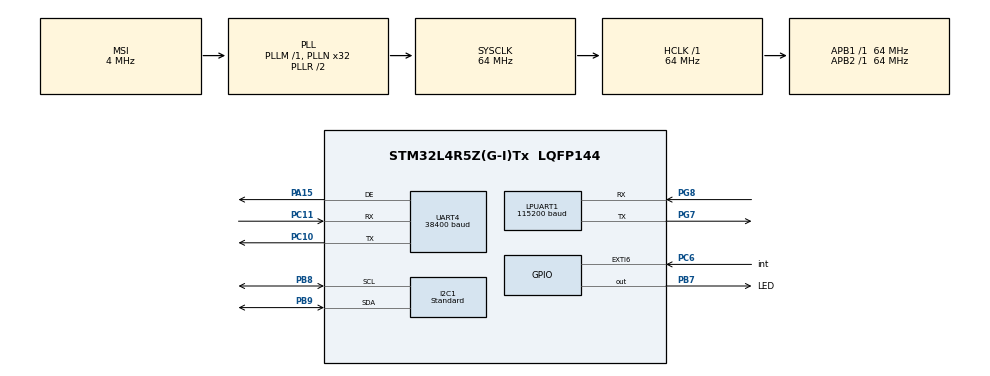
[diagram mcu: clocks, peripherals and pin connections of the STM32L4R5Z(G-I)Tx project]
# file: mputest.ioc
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Mcu.Family=STM32L4
RCC.MSI_VALUE=4000000
PG8.Mode=Asynchronous
FREERTOS.Queues01=SerialQ,64,1,1,Dynamic,NULL,NULL;bluetoothQ,64,1,1,Dynamic,NULL,NULL
VP_SYS_VS_tim6.Mode=TIM6
RCC.CortexFreq_Value=64000000
FREERTOS.Tasks01=readSensor,55,256,StartReadSensor,Default,NULL,Dynamic,NULL,NULL;SendBluetooth,8,128,SendBluetoothTask,Default,NULL,Dynamic,NULL,NULL;SendSerial,8,128,SendSerialTask,Default,NULL,Dynamic,NULL,NULL
PG7.Signal=LPUART1_TX
PA13\ (JTMS/SWDIO).Mode=Serial_Wire
I2C1.I2C_Speed_Mode=I2C_Standard
NVIC.TIM6_DAC_IRQn=true\:0\:0\:false\:false\:true\:false\:false\:true
PG8.Signal=LPUART1_RX
PC10.Signal=UART4_TX
PC11.Signal=UART4_RX
PC6.Signal=GPXTI6
PC10.Mode=Asynchronous
PC6.GPIO_Label=int
LPUART1.WordLength=UART_WORDLENGTH_8B
PA15\ (JTDI).Signal=UART4_DE
I2C1.Analog_Filter=I2C_ANALOGFILTER_ENABLE
RCC.SYSCLKSource=RCC_SYSCLKSOURCE_PLLCLK
ProjectManager.StackSize=0x400
VP_FREERTOS_VS_CMSIS_V2.Mode=CMSIS_V2
PA15\ (JTDI).Mode=Hardware Flow Control (RS485)
PA14\ (JTCK/SWCLK).Signal=SYS_JTCK-SWCLK
ProjectManager.TargetToolchain=STM32CubeIDE
UART4.BaudRate=38400
RCC.HCLKFreq_Value=64000000
PB9.Mode=I2C
RCC.APB2TimFreq_Value=64000000
I2C1.Timing=0x10707DBC
PG7.Mode=Asynchronous
RCC.LSE_VALUE=32768
RCC.AHBFreq_Value=64000000
RCC.HSE_VALUE=8000000
board=custom
RCC.VCOOutputFreq_Value=128000000
RCC.APB2Freq_Value=64000000
PB7.Signal=GPIO_Output
PA14\ (JTCK/SWCLK).Mode=Serial_Wire
Mcu.Name=STM32L4R5Z(G-I)Tx
LPUART1.BaudRate=115200
PB7.GPIO_Label=LED
RCC.SYSCLKFreq_VALUE=64000000
Mcu.Package=LQFP144
PB9.Signal=I2C1_SDA
NVIC.TimeBase=TIM6_DAC_IRQn
NVIC.TimeBaseIP=TIM6
NVIC.EXTI9_5_IRQn=true\:5\:0\:false\:false\:true\:true\:true\:true
ProjectManager.HeapSize=0x200
PC11.Mode=Asynchronous
RCC.HSI_VALUE=16000000
NVIC.PriorityGroup=NVIC_PRIORITYGROUP_4
PB8.Mode=I2C
RCC.PLLN=32
RCC.APB1TimFreq_Value=64000000
PB8.Signal=I2C1_SCL
RCC.APB1Freq_Value=64000000
RCC.HSI48_VALUE=48000000
PA13\ (JTMS/SWDIO).Signal=SYS_JTMS-SWDIO

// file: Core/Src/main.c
/* USER CODE BEGIN Header */
/**
 ******************************************************************************
 * @file           : main.c
 * @brief          : Main program body
 ******************************************************************************
 * @attention
 *
 * <h2><center>&copy; Copyright (c) 2021 STMicroelectronics.
 * All rights reserved.</center></h2>
 *
 * This software component is licensed by ST under BSD 3-Clause license,
 * the "License"; You may not use this file except in compliance with the
 * License. You may obtain a copy of the License at:
 *                        opensource.org/licenses/BSD-3-Clause
 *
 ******************************************************************************
 */
/* USER CODE END Header */
#include "main.h"
#include "cmsis_os.h"

/* USER CODE BEGIN Includes */
#include "inv_mpu.h"
#include "inv_mpu_dmp_motion_driver.h"
#include "math.h"
#include "mpu.h"
#include "macros.h"
#include <stdio.h>
#include <string.h>
/* USER CODE END Includes */

I2C_HandleTypeDef hi2c1;

UART_HandleTypeDef hlpuart1;
UART_HandleTypeDef huart4;

/* Definitions for readSensor */
osThreadId_t readSensorHandle;
const osThreadAttr_t readSensor_attributes = {
  .name = "readSensor",
  .stack_size = 256 * 4,
  .priority = (osPriority_t) osPriorityRealtime7,
};
/* Definitions for SendBluetooth */
osThreadId_t SendBluetoothHandle;
const osThreadAttr_t SendBluetooth_attributes = {
  .name = "SendBluetooth",
  .stack_size = 128 * 4,
  .priority = (osPriority_t) osPriorityLow,
};
/* Definitions for SendSerial */
osThreadId_t SendSerialHandle;
const osThreadAttr_t SendSerial_attributes = {
  .name = "SendSerial",
  .stack_size = 128 * 4,
  .priority = (osPriority_t) osPriorityLow,
};
/* Definitions for SerialQ */
osMessageQueueId_t SerialQHandle;
const osMessageQueueAttr_t SerialQ_attributes = {
  .name = "SerialQ"
};
/* Definitions for bluetoothQ */
osMessageQueueId_t bluetoothQHandle;
const osMessageQueueAttr_t bluetoothQ_attributes = {
  .name = "bluetoothQ"
};
/* USER CODE BEGIN PV */

int _write(int file, char *ptr, int len)
{
	HAL_UART_Transmit(&hlpuart1, (uint8_t *) ptr, len, 10);
	return len;
}
struct hal_s hal = {0};

/* USER CODE END PV */

void SystemClock_Config(void);
static void MX_GPIO_Init(void);
static void MX_I2C1_Init(void);
static void MX_LPUART1_UART_Init(void);
static void MX_UART4_Init(void);
void StartReadSensor(void *argument);
void SendBluetoothTask(void *argument);
void SendSerialTask(void *argument);

int main(void)
{

  /* MCU Configuration--------------------------------------------------------*/

  /* Reset of all peripherals, Initializes the Flash interface and the Systick. */
  HAL_Init();

  /* Configure the system clock */
  SystemClock_Config();

  /* Initialize all configured peripherals */
  MX_GPIO_Init();
  MX_I2C1_Init();
  MX_LPUART1_UART_Init();
  MX_UART4_Init();
  /* USER CODE BEGIN 2 */

  if(MPU_init()) NVIC_SystemReset();

	/* Read back configuration in case it was set improperly. */

  /* USER CODE END 2 */

  /* Init scheduler */
  osKernelInitialize();

  /* Create the queue(s) */
  /* creation of SerialQ */
  SerialQHandle = osMessageQueueNew (64, 1, &SerialQ_attributes);

  /* creation of bluetoothQ */
  bluetoothQHandle = osMessageQueueNew (64, 1, &bluetoothQ_attributes);

  /* Create the thread(s) */
  /* creation of readSensor */
  readSensorHandle = osThreadNew(StartReadSensor, NULL, &readSensor_attributes);

  /* creation of SendBluetooth */
  SendBluetoothHandle = osThreadNew(SendBluetoothTask, NULL, &SendBluetooth_attributes);

  /* creation of SendSerial */
  SendSerialHandle = osThreadNew(SendSerialTask, NULL, &SendSerial_attributes);

  /* Start scheduler */
  osKernelStart();

  /* We should never get here as control is now taken by the scheduler */
  /* Infinite loop */
	while (1)
	{

	}
}

void SystemClock_Config(void)
{
  RCC_OscInitTypeDef RCC_OscInitStruct = {0};
  RCC_ClkInitTypeDef RCC_ClkInitStruct = {0};
  RCC_PeriphCLKInitTypeDef PeriphClkInit = {0};

  /** Configure the main internal regulator output voltage
  */
  if (HAL_PWREx_ControlVoltageScaling(PWR_REGULATOR_VOLTAGE_SCALE1) != HAL_OK)
  {
    Error_Handler();
  }
  /** Initializes the RCC Oscillators according to the specified parameters
  * in the RCC_OscInitTypeDef structure.
  */
  RCC_OscInitStruct.OscillatorType = RCC_OSCILLATORTYPE_MSI;
  RCC_OscInitStruct.MSIState = RCC_MSI_ON;
  RCC_OscInitStruct.MSICalibrationValue = 0;
  RCC_OscInitStruct.MSIClockRange = RCC_MSIRANGE_6;
  RCC_OscInitStruct.PLL.PLLState = RCC_PLL_ON;
  RCC_OscInitStruct.PLL.PLLSource = RCC_PLLSOURCE_MSI;
  RCC_OscInitStruct.PLL.PLLM = 1;
  RCC_OscInitStruct.PLL.PLLN = 32;
  RCC_OscInitStruct.PLL.PLLP = RCC_PLLP_DIV2;
  RCC_OscInitStruct.PLL.PLLQ = RCC_PLLQ_DIV2;
  RCC_OscInitStruct.PLL.PLLR = RCC_PLLR_DIV2;
  if (HAL_RCC_OscConfig(&RCC_OscInitStruct) != HAL_OK)
  {
    Error_Handler();
  }
  /** Initializes the CPU, AHB and APB buses clocks
  */
  RCC_ClkInitStruct.ClockType = RCC_CLOCKTYPE_HCLK|RCC_CLOCKTYPE_SYSCLK
                              |RCC_CLOCKTYPE_PCLK1|RCC_CLOCKTYPE_PCLK2;
  RCC_ClkInitStruct.SYSCLKSource = RCC_SYSCLKSOURCE_PLLCLK;
  RCC_ClkInitStruct.AHBCLKDivider = RCC_SYSCLK_DIV1;
  RCC_ClkInitStruct.APB1CLKDivider = RCC_HCLK_DIV1;
  RCC_ClkInitStruct.APB2CLKDivider = RCC_HCLK_DIV1;

  if (HAL_RCC_ClockConfig(&RCC_ClkInitStruct, FLASH_LATENCY_3) != HAL_OK)
  {
    Error_Handler();
  }
  PeriphClkInit.PeriphClockSelection = RCC_PERIPHCLK_UART4|RCC_PERIPHCLK_LPUART1
                              |RCC_PERIPHCLK_I2C1;
  PeriphClkInit.Uart4ClockSelection = RCC_UART4CLKSOURCE_PCLK1;
  PeriphClkInit.Lpuart1ClockSelection = RCC_LPUART1CLKSOURCE_PCLK1;
  PeriphClkInit.I2c1ClockSelection = RCC_I2C1CLKSOURCE_PCLK1;
  if (HAL_RCCEx_PeriphCLKConfig(&PeriphClkInit) != HAL_OK)
  {
    Error_Handler();
  }
}

static void MX_I2C1_Init(void)
{

  hi2c1.Instance = I2C1;
  hi2c1.Init.Timing = 0x10707DBC;
  hi2c1.Init.OwnAddress1 = 0;
  hi2c1.Init.AddressingMode = I2C_ADDRESSINGMODE_7BIT;
  hi2c1.Init.DualAddressMode = I2C_DUALADDRESS_DISABLE;
  hi2c1.Init.OwnAddress2 = 0;
  hi2c1.Init.OwnAddress2Masks = I2C_OA2_NOMASK;
  hi2c1.Init.GeneralCallMode = I2C_GENERALCALL_DISABLE;
  hi2c1.Init.NoStretchMode = I2C_NOSTRETCH_DISABLE;
  if (HAL_I2C_Init(&hi2c1) != HAL_OK)
  {
    Error_Handler();
  }
  /** Configure Analogue filter
  */
  if (HAL_I2CEx_ConfigAnalogFilter(&hi2c1, I2C_ANALOGFILTER_ENABLE) != HAL_OK)
  {
    Error_Handler();
  }
  /** Configure Digital filter
  */
  if (HAL_I2CEx_ConfigDigitalFilter(&hi2c1, 0) != HAL_OK)
  {
    Error_Handler();
  }

}

static void MX_LPUART1_UART_Init(void)
{

  hlpuart1.Instance = LPUART1;
  hlpuart1.Init.BaudRate = 115200;
  hlpuart1.Init.WordLength = UART_WORDLENGTH_8B;
  hlpuart1.Init.StopBits = UART_STOPBITS_1;
  hlpuart1.Init.Parity = UART_PARITY_NONE;
  hlpuart1.Init.Mode = UART_MODE_TX_RX;
  hlpuart1.Init.HwFlowCtl = UART_HWCONTROL_NONE;
  hlpuart1.Init.OneBitSampling = UART_ONE_BIT_SAMPLE_DISABLE;
  hlpuart1.Init.ClockPrescaler = UART_PRESCALER_DIV1;
  hlpuart1.AdvancedInit.AdvFeatureInit = UART_ADVFEATURE_NO_INIT;
  hlpuart1.FifoMode = UART_FIFOMODE_DISABLE;
  if (HAL_UART_Init(&hlpuart1) != HAL_OK)
  {
    Error_Handler();
  }
  if (HAL_UARTEx_SetTxFifoThreshold(&hlpuart1, UART_TXFIFO_THRESHOLD_1_8) != HAL_OK)
  {
    Error_Handler();
  }
  if (HAL_UARTEx_SetRxFifoThreshold(&hlpuart1, UART_RXFIFO_THRESHOLD_1_8) != HAL_OK)
  {
    Error_Handler();
  }
  if (HAL_UARTEx_DisableFifoMode(&hlpuart1) != HAL_OK)
  {
    Error_Handler();
  }

}

static void MX_UART4_Init(void)
{

  huart4.Instance = UART4;
  huart4.Init.BaudRate = 38400;
  huart4.Init.WordLength = UART_WORDLENGTH_8B;
  huart4.Init.StopBits = UART_STOPBITS_1;
  huart4.Init.Parity = UART_PARITY_NONE;
  huart4.Init.Mode = UART_MODE_TX_RX;
  huart4.Init.HwFlowCtl = UART_HWCONTROL_NONE;
  huart4.Init.OverSampling = UART_OVERSAMPLING_16;
  huart4.Init.OneBitSampling = UART_ONE_BIT_SAMPLE_DISABLE;
  huart4.Init.ClockPrescaler = UART_PRESCALER_DIV1;
  huart4.AdvancedInit.AdvFeatureInit = UART_ADVFEATURE_NO_INIT;
  huart4.FifoMode = UART_FIFOMODE_DISABLE;
  if (HAL_RS485Ex_Init(&huart4, UART_DE_POLARITY_HIGH, 0, 0) != HAL_OK)
  {
    Error_Handler();
  }
  if (HAL_UARTEx_SetTxFifoThreshold(&huart4, UART_TXFIFO_THRESHOLD_1_8) != HAL_OK)
  {
    Error_Handler();
  }
  if (HAL_UARTEx_SetRxFifoThreshold(&huart4, UART_RXFIFO_THRESHOLD_1_8) != HAL_OK)
  {
    Error_Handler();
  }
  if (HAL_UARTEx_DisableFifoMode(&huart4) != HAL_OK)
  {
    Error_Handler();
  }

}

static void MX_GPIO_Init(void)
{
  GPIO_InitTypeDef GPIO_InitStruct = {0};

  /* GPIO Ports Clock Enable */
  __HAL_RCC_GPIOG_CLK_ENABLE();
  HAL_PWREx_EnableVddIO2();
  __HAL_RCC_GPIOC_CLK_ENABLE();
  __HAL_RCC_GPIOA_CLK_ENABLE();
  __HAL_RCC_GPIOB_CLK_ENABLE();

  /*Configure GPIO pin Output Level */
  HAL_GPIO_WritePin(LED_GPIO_Port, LED_Pin, GPIO_PIN_RESET);

  /*Configure GPIO pin : int_Pin */
  GPIO_InitStruct.Pin = int_Pin;
  GPIO_InitStruct.Mode = GPIO_MODE_IT_RISING;
  GPIO_InitStruct.Pull = GPIO_NOPULL;
  HAL_GPIO_Init(int_GPIO_Port, &GPIO_InitStruct);

  /*Configure GPIO pin : LED_Pin */
  GPIO_InitStruct.Pin = LED_Pin;
  GPIO_InitStruct.Mode = GPIO_MODE_OUTPUT_PP;
  GPIO_InitStruct.Pull = GPIO_NOPULL;
  GPIO_InitStruct.Speed = GPIO_SPEED_FREQ_LOW;
  HAL_GPIO_Init(LED_GPIO_Port, &GPIO_InitStruct);

  /* EXTI interrupt init*/
  HAL_NVIC_SetPriority(EXTI9_5_IRQn, 5, 0);
  HAL_NVIC_EnableIRQ(EXTI9_5_IRQn);

}

/* USER CODE BEGIN 4 */
void HAL_GPIO_EXTI_Callback(uint16_t GPIO_Pin){
	//gyro_data_ready_cb();
	hal.new_gyro = 1;
}
/* USER CODE END 4 */

void StartReadSensor(void *argument)
{
  /* USER CODE BEGIN 5 */
  /* Infinite loop */
  for(;;)
  {
	readSensorData();
    osDelay(1);
  }
  /* USER CODE END 5 */
}

void SendBluetoothTask(void *argument)
{
  /* USER CODE BEGIN SendBluetoothTask */
  /* Infinite loop */

	char msg_bt[64];
	uint16_t count_bt = 0;
	char b[1];
  /* Infinite loop */
	for(;;)
	{
		memset(msg_bt,0,64);
		count_bt = osMessageQueueGetCount(bluetoothQHandle);
		if(count_bt > 0){
			for (int j = 0; j < count_bt; j++) {
				osMessageQueueGet(bluetoothQHandle, b, 0, 100);
				strncat(msg_bt,b,1);
			}
			transmit(msg_bt);
		}
		osDelay(100);
  }
  /* USER CODE END SendBluetoothTask */
}

void SendSerialTask(void *argument)
{
  /* USER CODE BEGIN SendSerialTask */
	char msg_sr[64];
	uint16_t count_sr = 0;
	char c[1];
  /* Infinite loop */
	for(;;)
	{
		memset(msg_sr,0,64);
		count_sr = osMessageQueueGetCount(SerialQHandle);
		if(count_sr > 0){
			for (int i = 0; i < count_sr; i++) {
				osMessageQueueGet(SerialQHandle, c, 0, 100);
				strncat(msg_sr, c, 1);
			}
			transmit(msg_sr);
		}
		osDelay(100);
	}
  /* USER CODE END SendSerialTask */
}

 /**
  * @brief  Period elapsed callback in non blocking mode
  * @note   This function is called  when TIM6 interrupt took place, inside
  * HAL_TIM_IRQHandler(). It makes a direct call to HAL_IncTick() to increment
  * a global variable "uwTick" used as application time base.
  * @param  htim : TIM handle
  * @retval None
  */
void HAL_TIM_PeriodElapsedCallback(TIM_HandleTypeDef *htim)
{
  if (htim->Instance == TIM6) {
    HAL_IncTick();
  }
}

void Error_Handler(void)
{
	__disable_irq();
	while (1)
	{
	}
}

/************************ (C) COPYRIGHT STMicroelectronics *****END OF FILE****/
